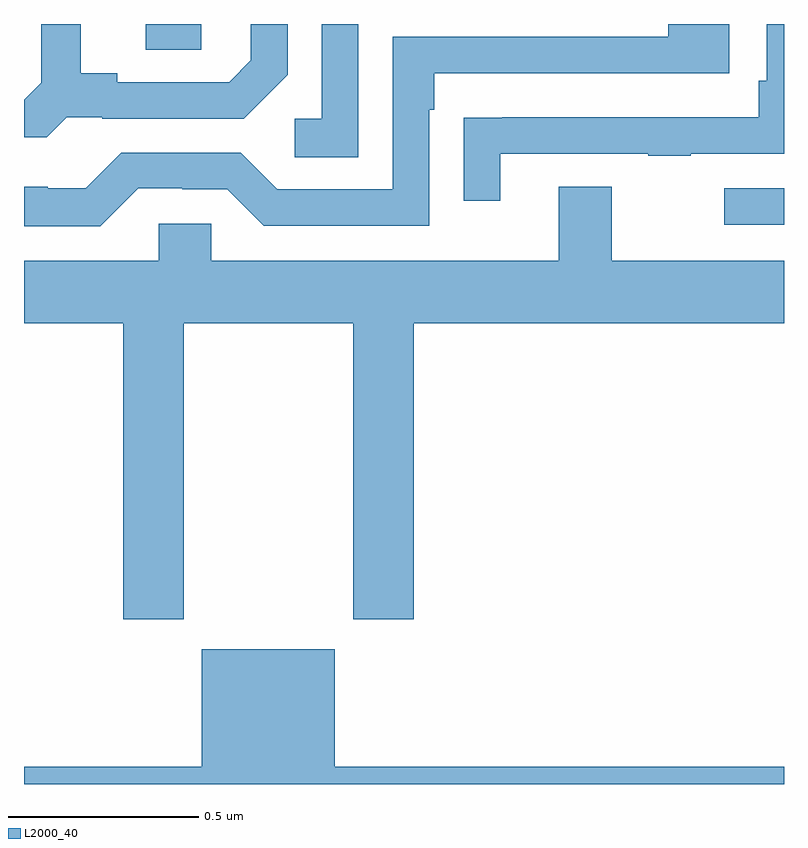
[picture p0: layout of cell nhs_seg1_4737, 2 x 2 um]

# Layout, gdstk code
import gdstk
lib = gdstk.Library(unit=1e-6, precision=1e-09)
def R(c, l, rs):  # rectangles x0, y0, x1, y1
    for r in rs: c.add(gdstk.rectangle(r[:2], r[2:], *l))
def P(c, l, *ps):  # polygons
    for p in ps: c.add(gdstk.Polygon(p, *l))
L2000_40 = (2000, 40)

nhs_seg1_4737 = lib.new_cell('nhs_seg1_4737')
R(nhs_seg1_4737, L2000_40, [(171.843,538.671,172,538.767), (170.321,539.131,170.466,539.199)])
P(nhs_seg1_4737, L2000_40, [(170.301,538.767),(170.417,538.767),(170.417,538.764),(170.535,538.764),(170.631,538.668),(171.066,538.668),(171.066,538.973),(171.079,538.973),(171.079,539.07),(171.856,539.07),(171.856,539.199),(171.695,539.199),(171.695,539.166),(170.97,539.166),(170.97,538.764),(170.667,538.764),(170.571,538.86),(170.256,538.86),(170.163,538.767),(170.063,538.767),(170.063,538.771),(170,538.771),(170,538.667),(170.201,538.667)],
  [(170.112,538.953),(170.206,538.953),(170.206,538.95),(170.578,538.95),(170.694,539.066),(170.694,539.199),(170.597,539.199),(170.597,539.103),(170.54,539.046),(170.245,539.046),(170.245,539.069),(170.149,539.069),(170.149,539.199),(170.045,539.199),(170.045,539.045),(170,539),(170,538.901),(170.06,538.901)],
  [(170.88,539.199),(170.784,539.199),(170.784,538.95),(170.712,538.95),(170.712,538.849),(170.88,538.849)],
  [(171.253,538.857),(171.643,538.857),(171.643,538.852),(171.755,538.852),(171.755,538.857),(172,538.857),(172,539.199),(171.954,539.199),(171.954,539.05),(171.934,539.05),(171.934,538.953),(171.259,538.953),(171.259,538.952),(171.157,538.952),(171.157,538.734),(171.253,538.734)],
  [(170.421,538.412),(170.866,538.412),(170.866,537.633),(171.026,537.633),(171.026,538.412),(172,538.412),(172,538.576),(171.547,538.576),(171.547,538.771),(171.407,538.771),(171.407,538.576),(170.493,538.576),(170.493,538.674),(170.355,538.674),(170.355,538.576),(170,538.576),(170,538.412),(170.261,538.412),(170.261,537.633),(170.421,537.633)],
  [(172,537.244),(170.818,537.244),(170.818,537.553),(170.468,537.553),(170.468,537.244),(170,537.244),(170,537.199),(172,537.199)])

lib.write_gds('nhs_seg1_4737.gds')
